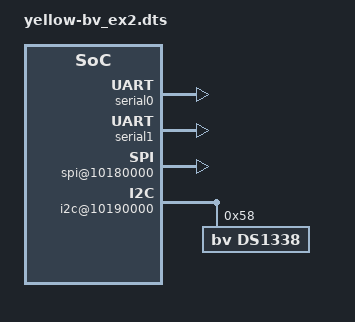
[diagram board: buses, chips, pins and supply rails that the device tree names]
/dts-v1/;

/ {
    compatible = "BV,Yellow's BV";

    cpus {
        #address-cells = <1>;
        #size-cells = <0>;
        cpu@0 {
            compatible = "arm,cortex-a9";
            reg = <0>;
        };
        cpu@1 {
            compatible = "arm,cortex-a9";
            reg = <1>;
        };
    };

    localbus {
        compatible = "bus-group-one-addcell-one-sizecell";
        #address-cells = <1>;
        #size-cells = <1>;

        serial0 : serial@101b1000 {
            compatible = "arm,bv011";
            reg = <0x101b1000 0x1000>;
        };

        serial1 : serial@101b2000 {
            compatible = "arm,bv011";
            reg = <0x101b2000 0x1000>;
        };

        gpio0 : gpio@101b3000 {
            compatible = "arm,bv061";
            reg = <0x101b3000 0x1000>;
        };

        spi@10180000 {
            compatible = "arm,bv022";
            reg = <0x10180000 0x1000>;
        };

        i2c@10190000 {
            compatible = "bv,bv-i2c-bus";
            #address-cells = <1>;
		    #size-cells = <0>;
            reg = <0x10190000>;

            ds1338@58 {
                compatible = "bv,ds1338";
                reg = <0x58>;
            };
        };
    };

    aliases {
        serial0 = &serial0;
        serial1 = &serial1;
        gpio = &gpio0;
    };

    chosen {
        bootargs = "ignore_loglevel rw root=/dev/nfs ip=on";
        stdout-path = "serial0:115200n8";
    };
};
